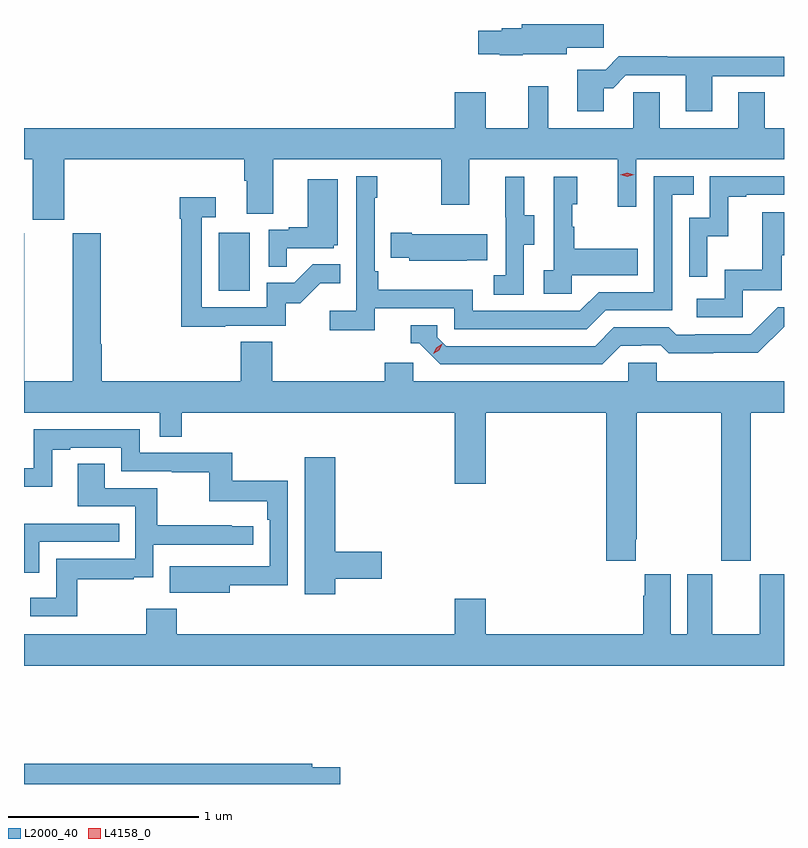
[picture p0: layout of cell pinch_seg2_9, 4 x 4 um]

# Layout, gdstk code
import gdstk
lib = gdstk.Library(unit=1e-6, precision=1e-09)
def R(c, l, rs):  # rectangles x0, y0, x1, y1
    for r in rs: c.add(gdstk.rectangle(r[:2], r[2:], *l))
def P(c, l, *ps):  # polygons
    for p in ps: c.add(gdstk.Polygon(p, *l))
L2000_40 = (2000, 40)
L4158_0 = (4158, 0)

pinch_seg2_9 = lib.new_cell('pinch_seg2_9')
R(pinch_seg2_9, L2000_40, [(1134.794,661.596,1134.958,661.903)])
P(pinch_seg2_9, L2000_40, [(1136.394,662.843),(1136.626,662.843),(1136.626,662.875),(1136.821,662.875),(1136.821,663.001),(1136.39,663.001),(1136.39,662.978),(1136.283,662.978),(1136.283,662.965),(1136.16,662.965),(1136.16,662.843),(1136.272,662.843),(1136.272,662.836),(1136.394,662.836)],
  [(1136.821,662.663),(1136.87,662.663),(1136.937,662.73),(1137.251,662.73),(1137.251,662.541),(1137.391,662.541),(1137.391,662.727),(1137.769,662.727),(1137.769,662.828),(1137.155,662.828),(1137.155,662.831),(1136.9,662.831),(1136.83,662.761),(1136.681,662.761),(1136.681,662.541),(1136.821,662.541)],
  [(1133.98,662.288),(1134.929,662.288),(1134.929,662.176),(1134.941,662.176),(1134.941,662.002),(1135.081,662.002),(1135.081,662.288),(1135.966,662.288),(1135.966,662.049),(1136.113,662.049),(1136.113,662.288),(1136.894,662.288),(1136.894,662.04),(1136.991,662.04),(1136.991,662.288),(1137.769,662.288),(1137.769,662.452),(1137.667,662.452),(1137.667,662.642),(1137.527,662.642),(1137.527,662.452),(1137.115,662.452),(1137.115,662.642),(1136.976,662.642),(1136.976,662.452),(1136.527,662.452),(1136.527,662.674),(1136.423,662.674),(1136.423,662.452),(1136.2,662.452),(1136.2,662.641),(1136.036,662.641),(1136.036,662.452),(1133.769,662.452),(1133.769,662.288),(1133.816,662.288),(1133.816,661.971),(1133.98,661.971)],
  [(1135.616,661.506),(1136.034,661.506),(1136.034,661.395),(1136.731,661.395),(1136.83,661.494),(1137.18,661.494),(1137.18,662.103),(1137.293,662.103),(1137.293,662.199),(1137.084,662.199),(1137.084,661.59),(1136.793,661.59),(1136.694,661.491),(1136.13,661.491),(1136.13,661.603),(1135.634,661.603),(1135.634,661.699),(1135.614,661.699),(1135.614,662.087),(1135.627,662.087),(1135.627,662.2),(1135.518,662.2),(1135.518,661.492),(1135.377,661.492),(1135.377,661.39),(1135.616,661.39)],
  [(1137.366,661.883),(1137.476,661.883),(1137.476,662.091),(1137.571,662.091),(1137.571,662.103),(1137.769,662.103),(1137.769,662.199),(1137.378,662.199),(1137.378,661.98),(1137.27,661.98),(1137.27,661.671),(1137.366,661.671)],
  [(1136.4,661.84),(1136.455,661.84),(1136.455,661.995),(1136.401,661.995),(1136.401,662.197),(1136.303,662.197),(1136.303,661.983),(1136.304,661.983),(1136.304,661.679),(1136.241,661.679),(1136.241,661.576),(1136.4,661.576)],
  [(1136.652,661.679),(1136.999,661.679),(1136.999,661.819),(1136.665,661.819),(1136.665,661.934),(1136.655,661.934),(1136.655,662.052),(1136.68,662.052),(1136.68,662.197),(1136.556,662.197),(1136.556,661.706),(1136.505,661.706),(1136.505,661.581),(1136.652,661.581)],
  [(1135.151,661.821),(1135.398,661.821),(1135.398,661.836),(1135.42,661.836),(1135.42,662.185),(1135.262,662.185),(1135.262,661.93),(1135.163,661.93),(1135.163,661.917),(1135.056,661.917),(1135.056,661.723),(1135.151,661.723)],
  [(1134.827,661.413),(1135.146,661.413),(1135.146,661.53),(1135.222,661.53),(1135.329,661.637),(1135.433,661.637),(1135.433,661.736),(1135.289,661.736),(1135.191,661.638),(1135.047,661.638),(1135.047,661.509),(1134.705,661.509),(1134.705,661.983),(1134.778,661.983),(1134.778,662.089),(1134.589,662.089),(1134.589,661.976),(1134.597,661.976),(1134.597,661.408),(1134.827,661.408)],
  [(1137.552,661.599),(1137.757,661.599),(1137.757,661.785),(1137.769,661.785),(1137.769,662.011),(1137.655,662.011),(1137.655,661.708),(1137.456,661.708),(1137.456,661.554),(1137.309,661.554),(1137.309,661.458),(1137.552,661.458)],
  [(1136.099,661.757),(1136.207,661.757),(1136.207,661.894),(1135.81,661.894),(1135.81,661.902),(1135.699,661.902),(1135.699,661.772),(1135.797,661.772),(1135.797,661.754),(1136.099,661.754)],
  [(1136.989,660.289),(1136.994,660.289),(1136.994,660.956),(1137.439,660.956),(1137.439,660.177),(1137.594,660.177),(1137.594,660.956),(1137.769,660.956),(1137.769,661.12),(1137.099,661.12),(1137.099,661.218),(1136.949,661.218),(1136.949,661.12),(1135.818,661.12),(1135.818,661.218),(1135.667,661.218),(1135.667,661.12),(1135.076,661.12),(1135.076,661.328),(1134.911,661.328),(1134.911,661.12),(1134.179,661.12),(1134.179,661.316),(1134.174,661.316),(1134.174,661.899),(1134.026,661.899),(1134.026,661.12),(1133.77,661.12),(1133.77,661.899),(1133.769,661.899),(1133.769,660.956),(1134.483,660.956),(1134.483,660.829),(1134.599,660.829),(1134.599,660.956),(1136.036,660.956),(1136.036,660.582),(1136.2,660.582),(1136.2,660.956),(1136.834,660.956),(1136.834,660.177),(1136.989,660.177)],
  [(1136.911,661.308),(1137.018,661.308),(1137.018,661.311),(1137.121,661.311),(1137.163,661.269),(1137.396,661.269),(1137.396,661.271),(1137.632,661.271),(1137.769,661.408),(1137.769,661.509),(1137.735,661.509),(1137.594,661.368),(1137.301,661.368),(1137.301,661.365),(1137.202,661.365),(1137.163,661.404),(1136.874,661.404),(1136.775,661.305),(1135.992,661.305),(1135.944,661.353),(1135.944,661.416),(1135.805,661.416),(1135.805,661.32),(1135.848,661.32),(1135.959,661.209),(1136.812,661.209)],
  [(1134.853,660.046),(1135.158,660.046),(1135.158,660.598),(1134.865,660.598),(1134.865,660.744),(1134.378,660.744),(1134.378,660.867),(1133.82,660.867),(1133.82,660.663),(1133.769,660.663),(1133.769,660.566),(1133.917,660.566),(1133.917,660.759),(1134.013,660.759),(1134.013,660.771),(1134.282,660.771),(1134.282,660.648),(1134.547,660.648),(1134.547,660.643),(1134.744,660.643),(1134.744,660.488),(1135.049,660.488),(1135.049,660.392),(1135.062,660.392),(1135.062,660.147),(1134.749,660.147),(1134.749,660.148),(1134.535,660.148),(1134.535,660.008),(1134.853,660.008)],
  [(1135.408,660.082),(1135.651,660.082),(1135.651,660.224),(1135.408,660.224),(1135.408,660.721),(1135.247,660.721),(1135.247,660),(1135.408,660)],
  [(1134.049,660.078),(1134.347,660.078),(1134.347,660.089),(1134.45,660.089),(1134.45,660.261),(1134.976,660.261),(1134.976,660.357),(1134.863,660.357),(1134.863,660.362),(1134.47,660.362),(1134.47,660.558),(1134.193,660.558),(1134.193,660.686),(1134.053,660.686),(1134.053,660.462),(1134.354,660.462),(1134.354,660.186),(1133.938,660.186),(1133.938,659.98),(1133.803,659.98),(1133.803,659.883),(1134.049,659.883)],
  [(1133.85,660.276),(1134.269,660.276),(1134.269,660.372),(1133.769,660.372),(1133.769,660.113),(1133.85,660.113)],
  [(1137.769,660.106),(1137.641,660.106),(1137.641,659.788),(1137.391,659.788),(1137.391,660.106),(1137.26,660.106),(1137.26,659.788),(1137.172,659.788),(1137.172,660.106),(1137.035,660.106),(1137.035,659.993),(1137.029,659.993),(1137.029,659.788),(1136.2,659.788),(1136.2,659.977),(1136.036,659.977),(1136.036,659.788),(1134.572,659.788),(1134.572,659.923),(1134.412,659.923),(1134.412,659.788),(1133.769,659.788),(1133.769,659.624),(1137.769,659.624)],
  [(1135.433,659.088),(1135.286,659.088),(1135.286,659.108),(1133.769,659.108),(1133.769,659.001),(1135.433,659.001)])
P(pinch_seg2_9, L4158_0, [(1136.944,662.198),(1136.908,662.208),(1136.908,662.208),(1136.908,662.208),(1136.944,662.218),(1136.98,662.208),(1136.98,662.207),(1136.98,662.207)],
  [(1135.922,661.266),(1135.922,661.266),(1135.939,661.298),(1135.97,661.317),(1135.97,661.317),(1135.97,661.317),(1135.954,661.285),(1135.923,661.266)])

lib.write_gds('pinch_seg2_9.gds')
